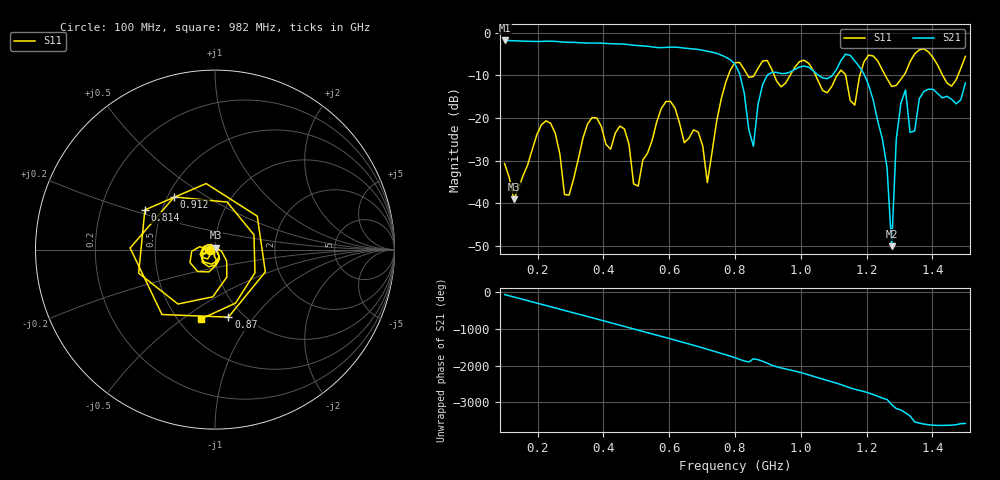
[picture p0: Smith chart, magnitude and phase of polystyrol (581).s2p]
! NanoVNA-App
! Date: 2025-09-25 15:34:24
! Start: 100MHz Stop: 1,5GHz Points: 101
! S-Parameter data: F S11 S21 S12 S22
# Hz S RI R 50
!  Frequency  S11_Real  S11_Imag  S21_Real  S21_Imag  S12_Real  S12_Imag  S22_Real  S22_Imag
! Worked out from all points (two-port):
!   101 points, 100 MHz to 1.5 GHz, reference 50 ohm
!   highest |S21| = -1.80 dB at 100 MHz (marker M1); lowest = -50.1 dB at 1.276 GHz (marker M2)
!   |S21| within 3 dB of the highest: start of sweep to 742.9 MHz
!   lowest |S11| = -39.1 dB at 128 MHz (marker M3), VSWR 1.02, Z = 50.3 + j1.07 ohm
!   |S11| at or under -10 dB: start of sweep to 779.7 MHz; 1.045 GHz to 1.11 GHz (65.48 MHz wide, 6.08 % of centre); 1.257 GHz to 1.313 GHz (55.96 MHz wide, 4.36 % of centre) (the widest 3 of 7)
!   S12 and S22 are empty: the file has one direction only
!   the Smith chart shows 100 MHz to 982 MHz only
!   S11 on the Smith chart (normalised r, x): 100 MHz: 0.94, -0.01; 814 MHz: 0.40, +0.22; 870 MHz: 0.85, -0.75; 912 MHz: 0.54, +0.37; 982 MHz: 0.64, -0.59
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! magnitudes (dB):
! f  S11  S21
! 100 MHz  -30.7  -1.8
! 128 MHz  -39.1  -1.9
! 212 MHz  -21.6  -2.0
! 282 MHz  -38.0  -2.2
! 338 MHz  -24.7  -2.4
! 464 MHz  -22.6  -2.7
! 506 MHz  -36.0  -3.0
! 576 MHz  -17.8  -3.5
! 716 MHz  -35.2  -4.3
! 800 MHz  -7.0  -7.4
! 814 MHz  -7.0  -9.6
! 856 MHz  -10.3  -26.6
! 870 MHz  -8.3  -16.8
! 912 MHz  -8.6  -9.3
! 982 MHz  -8.1  -8.6
! 1.038 GHz  -8.8  -8.9
! 1.192 GHz  -6.8  -9.7
! 1.248 GHz  -8.8  -25.0
! 1.276 GHz  -12.6  -50.1
! 1.29 GHz  -12.3  -25.0
! 1.318 GHz  -9.4  -13.4
! 1.5 GHz  -5.5  -11.8
